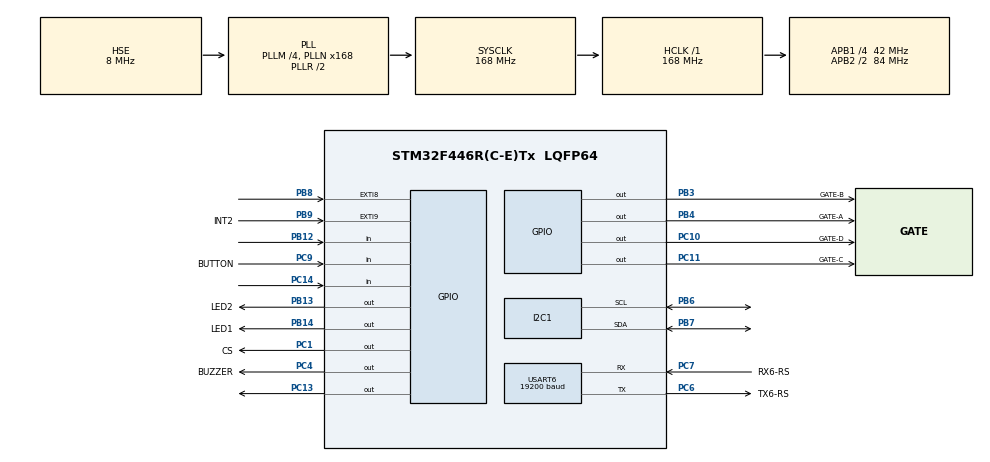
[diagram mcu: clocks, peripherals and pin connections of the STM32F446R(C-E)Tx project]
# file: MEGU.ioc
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I2C1.I2C_Mode=I2C_Fast
Mcu.Family=STM32F4
Mcu.Name=STM32F446R(C-E)Tx
Mcu.Package=LQFP64
NVIC.PriorityGroup=NVIC_PRIORITYGROUP_4
NVIC.TIM1_UP_TIM10_IRQn=true\:0\:0\:false\:false\:true\:true\:true\:true
NVIC.TIM6_DAC_IRQn=true\:0\:0\:false\:false\:true\:true\:true\:true
NVIC.USART6_IRQn=true\:0\:0\:false\:false\:true\:true\:true\:true
PA13.Mode=Serial_Wire
PA13.Signal=SYS_JTMS-SWDIO
PA14.Mode=Serial_Wire
PA14.Signal=SYS_JTCK-SWCLK
PA7.Signal=SPI1_MOSI
PB12.GPIO_PuPd=GPIO_PULLUP
PB12.Signal=GPIO_Input
PB13.GPIO_Label=LED2
PB13.Signal=GPIO_Output
PB14.GPIO_Label=LED1
PB14.Signal=GPIO_Output
PB3.GPIO_Label=GATE-B
PB3.Signal=GPIO_Output
PB4.GPIO_Label=GATE-A
PB4.Signal=GPIO_Output
PB6.Mode=I2C
PB6.Signal=I2C1_SCL
PB7.Mode=I2C
PB7.Signal=I2C1_SDA
PB8.GPIO_ModeDefaultEXTI=GPIO_MODE_IT_RISING
PB8.Signal=GPXTI8
PB9.GPIO_Label=INT2
PB9.GPIO_PuPd=GPIO_NOPULL
PB9.Signal=GPXTI9
PC1.GPIO_Label=CS
PC1.Signal=GPIO_Output
PC10.GPIO_Label=GATE-D
PC10.Signal=GPIO_Output
PC11.GPIO_Label=GATE-C
PC11.Signal=GPIO_Output
PC13.PinState=GPIO_PIN_SET
PC13.Signal=GPIO_Output
PC14-OSC32_IN.GPIO_PuPd=GPIO_PULLDOWN
PC14-OSC32_IN.Signal=GPIO_Input
PC4.GPIO_Label=BUZZER
PC4.Signal=GPIO_Output
PC6.GPIO_Label=TX6-RS
PC6.Mode=Asynchronous
PC6.Signal=USART6_TX
PC7.GPIO_Label=RX6-RS
PC7.Mode=Asynchronous
PC7.Signal=USART6_RX
PC9.GPIO_Label=BUTTON
PC9.GPIO_PuPd=GPIO_PULLUP
PC9.Signal=GPIO_Input
PH0-OSC_IN.Mode=HSE-External-Oscillator
PH0-OSC_IN.Signal=RCC_OSC_IN
PH1-OSC_OUT.Mode=HSE-External-Oscillator
PH1-OSC_OUT.Signal=RCC_OSC_OUT
ProjectManager.HeapSize=0x200
ProjectManager.StackSize=0x400
ProjectManager.TargetToolchain=STM32CubeIDE
RCC.AHBFreq_Value=168000000
RCC.APB1CLKDivider=RCC_HCLK_DIV4
RCC.APB1Freq_Value=42000000
RCC.APB1TimFreq_Value=84000000
RCC.APB2CLKDivider=RCC_HCLK_DIV2
RCC.APB2Freq_Value=84000000
RCC.APB2TimFreq_Value=168000000
RCC.CortexFreq_Value=168000000
RCC.HCLKFreq_Value=168000000
RCC.HSE_VALUE=8000000
RCC.PLLM=4
RCC.PLLN=168
RCC.PLLQ=7
RCC.PLLSourceVirtual=RCC_PLLSOURCE_HSE
RCC.SYSCLKFreq_VALUE=168000000
RCC.SYSCLKSource=RCC_SYSCLKSOURCE_PLLRCLK
RCC.USBFreq_Value=48000000
RCC.VCOOutputFreq_Value=336000000
TIM10.Period=4999
TIM10.Prescaler=1680
TIM6.Period=19999
TIM6.Prescaler=840
USART6.BaudRate=19200
USART6.VirtualMode=VM_ASYNC
VP_FATFS_VS_Generic.Mode=User_defined
VP_TIM10_VS_ClockSourceINT.Mode=Enable_Timer
VP_TIM6_VS_ClockSourceINT.Mode=Enable_Timer
board=custom

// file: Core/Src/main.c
/* USER CODE BEGIN Header */
/**
  ******************************************************************************
  * @file           : main.c
  * @brief          : Main program body
  ******************************************************************************
  * @attention
  *
  * Copyright (c) 2024 STMicroelectronics.
  * All rights reserved.
  *
  * This software is licensed under terms that can be found in the LICENSE file
  * in the root directory of this software component.
  * If no LICENSE file comes with this software, it is provided AS-IS.
  *
  ******************************************************************************
  */
/* USER CODE END Header */
#include "main.h"
#include "fatfs.h"

/* USER CODE BEGIN Includes */

#include "LSM6DSLTR.h"
#include "./BME280/bme280.h"
#include <math.h>
#include "FIR_FILTER.h"
#include "stdio.h"
#include "kalman.h"
#include "string.h"
/* USER CODE END Includes */

/* USER CODE BEGIN PD */

#define EGU_RX_BUFFER_SIZE 5
#define EGU_TX_BUFFER_SIZE 34

#define HP_alpha 	0.92f // 0.8 en iyi
#define LP_alpha 	0.55f // 0.4 en iyi
#define beta		0.85
/* USER CODE END PD */

I2C_HandleTypeDef hi2c1;

TIM_HandleTypeDef htim6;
TIM_HandleTypeDef htim10;

UART_HandleTypeDef huart6;

/* USER CODE BEGIN PV */

typedef union{
  float fVal;
  unsigned char array[4];
}float2unit8;

KalmanFilter kf , na , pa , ax,ay,az,gx,gy,gz;

uint8_t EGU_RX_BUFFER[EGU_RX_BUFFER_SIZE];
uint8_t EGU_TX_BUFFER[EGU_TX_BUFFER_SIZE];
uint8_t rx_data_EGU=0;
uint8_t rx_index_EGU=0;
static uint8_t EGU_durum_sorgusu[5]={0x54,0x52,0x35,0x0D,0x0A};
static uint8_t EGU_motor_atesleme[5]={0x54,0x52,0x32,0x0D,0x0A};

uint8_t manyetik_switch=1;

int buzzer_long=0 , buzzer_short=0, buzzer_ariza=0 ;
int buzzer_short_counter , buzzer_long_counter , buzzer_ariza_counter;

uint8_t MEGU_battery=0;
uint8_t MEGU_mod=0;

uint8_t BUTTON_STATE=0;

float zaman=0;

uint8_t fitil_kontrol=0;
uint8_t motor_ates=0;
uint8_t sensor_flag=0;
uint8_t rampa_control=0;
uint8_t ariza_BME=0;
uint8_t ariza_LSM=0;
uint8_t ariza=0;
uint32_t set_timer=0;
uint32_t set1=0;

const uint8_t egu_byte_0=0x54;
const uint8_t egu_byte_1=0x52;
const uint8_t egu_byte_28=0x00;
const uint8_t egu_byte_31=0x00;
const uint8_t egu_byte_32=0x0D;
const uint8_t egu_byte_33=0x0A;

float temperature=0;
float humidity=0;
float altitude=0;
float max_altitude=0;
float offset_altitude=0;
float pressure=0;
float alt=0;
float P0 = 1013.25;
float prev_alt=0;
float speed=0;
int new_data=0;
float prev_time1;
uint8_t altitude_rampa_control=0;
float speed_max , x_max , altitude_max =0;

float real_pitch, real_roll , toplam_pitch,toplam_roll , toplam_accX , toplam_accY , toplam_accZ, toplam_gX,toplam_gY,toplam_gZ ,
	  toplam_normal,real_normal;

float offset_x,offset_y,offset_z, gyroX_prev, gyroY_prev,gyroZ_prev,
	  accX_prev, accY_prev,accZ_prev;
float filtered_gyroX ,filtered_gyroY,filtered_gyroZ, filtered_accX,
	  filtered_accY,filtered_accZ;
float filtered_gyro[3] , filtered_gyro_HP[3];
float filtered_acc_LP[3] , filtered_acc[3];
float gravity_normal_angle;

float gyroX_HP_prev = 0.0f, gyroY_HP_prev = 0.0f, gyroZ_HP_prev = 0.0f;
float filtered_gyro_HP_X = 0.0f, filtered_gyro_HP_Y = 0.0f, filtered_gyro_HP_Z = 0.0f;

float gyroX_LP_prev = 0.0f, gyroY_LP_prev = 0.0f, gyroZ_LP_prev = 0.0f , filtered_gyro_LP[3];

int kontrol_counter=0,speed_time, speed_time_prev;
uint8_t sensor_counter = 0;
KalmanFilter kf;
LSM6DSLTR Lsm_Sensor;
float altitude_kalman=0;

enum ZORLU2024
{
	RAMPA,UCUS_BASLADI,KADEME_AYRILDIMI,AYRILDI
};
enum ZORLU2024 MEGU;
/* USER CODE END PV */

void SystemClock_Config(void);
static void MX_GPIO_Init(void);
static void MX_I2C1_Init(void);
static void MX_USART6_UART_Init(void);
static void MX_TIM10_Init(void);
static void MX_TIM6_Init(void);
/* USER CODE BEGIN PFP */
int16_t BME_I2C_Testsensor(void);
int16_t LSM_I2C_Testsensor(void);
int8_t user_i2c_read(uint8_t id, uint8_t reg_addr, uint8_t *data, uint16_t len);
int8_t user_i2c_write(uint8_t id, uint8_t reg_addr, uint8_t *data, uint16_t len);
void user_delay_ms(uint32_t period);
float BME280_Get_Altitude(void);
void bme_config(void);
void union_converter(void);
void EGU_Buff_Load(void);
void Buzzer(int how_many , uint32_t how_long);
void Altitude_Offset();
int compare_arrays(uint8_t *array1, uint8_t *array2, uint16_t size);
void MEGU_TX_BUF_FILL(void);
/* USER CODE END PFP */

/* USER CODE BEGIN 0 */

struct bme280_dev dev;
struct bme280_data comp_data;
int8_t rslt=0;

void HAL_UART_RxCpltCallback(UART_HandleTypeDef *huart)
{

	if(huart == &huart6){
		if(rx_data_EGU != '\n' && rx_index_EGU <5){
			EGU_RX_BUFFER[rx_index_EGU++]=rx_data_EGU;

		}
		else
		{
			rx_data_EGU=0;
			rx_index_EGU=0;

		}
	HAL_UART_Receive_IT(&huart6, &rx_data_EGU, 1);
		}
}

void HAL_TIM_PeriodElapsedCallback(TIM_HandleTypeDef *htim)
{

	if(htim==&htim10){ //50ms
	sensor_flag=1;
	set_timer++;

	if(buzzer_long ==1 && buzzer_long_counter>=20)
	{
		HAL_GPIO_TogglePin(GPIOC, GPIO_PIN_4);
		buzzer_long_counter = 0;
	}
	buzzer_long_counter++;

	if(buzzer_short ==1 && buzzer_short_counter>=9)
	{
		HAL_GPIO_TogglePin(GPIOC, GPIO_PIN_4);
		buzzer_short_counter = 0;
	}
	buzzer_short_counter++;

	if(buzzer_ariza ==1 && buzzer_ariza_counter>=3)
	{
		HAL_GPIO_TogglePin(GPIOC, GPIO_PIN_4);
		buzzer_ariza_counter = 0;
	}
	buzzer_ariza_counter++;

	}

}
/**********************************************/

/* USER CODE END 0 */

int main(void)
{

  /* MCU Configuration--------------------------------------------------------*/

  /* Reset of all peripherals, Initializes the Flash interface and the Systick. */
  HAL_Init();

  /* Configure the system clock */
  SystemClock_Config();

  /* Initialize all configured peripherals */
  MX_GPIO_Init();
  MX_I2C1_Init();
  MX_USART6_UART_Init();
  MX_FATFS_Init();
  MX_TIM10_Init();
  MX_TIM6_Init();
  /* USER CODE BEGIN 2 */
  HAL_GPIO_WritePin(GPIOC, GPIO_PIN_1, GPIO_PIN_SET);
  HAL_GPIO_WritePin(GPIOB, GPIO_PIN_2, GPIO_PIN_SET);
  HAL_GPIO_WritePin(GPIOC, GPIO_PIN_14, GPIO_PIN_SET);

  ///KURTARMA PORTLARI KAPALI EMIN OL
  HAL_GPIO_WritePin(GPIOB, GPIO_PIN_4, GPIO_PIN_RESET);//A
  HAL_GPIO_WritePin(GPIOB, GPIO_PIN_3, GPIO_PIN_RESET);//B
  HAL_GPIO_WritePin(GPIOC, GPIO_PIN_11, GPIO_PIN_RESET);//C
  HAL_GPIO_WritePin(GPIOC, GPIO_PIN_10, GPIO_PIN_RESET);//D

  HAL_UART_Receive_IT(&huart6, &rx_data_EGU, 1);

  HAL_TIM_Base_Start_IT(&htim10);
  HAL_TIM_Base_Start_IT(&htim6);

  KalmanFilter_Init(&kf, 0.005, 0.1, 0.0);

  KalmanFilter_Init(&ax, 0.2, 2, toplam_accX);
  KalmanFilter_Init(&ay, 0.2, 2, toplam_accY);
  KalmanFilter_Init(&az, 0.2, 2, toplam_accZ);
  KalmanFilter_Init(&gx, 0.2, 2, toplam_gX);
  KalmanFilter_Init(&gy, 0.2, 2, toplam_gY);
  KalmanFilter_Init(&gz, 0.2, 2, toplam_gZ);

  LSM6DSLTR_Init();
  bme_config();
  Altitude_Offset();

  for(int i = 0; i<5;i++)
  {

	      LSM6DSLTR_Read_Gyro_Data(&Lsm_Sensor);

	      offset_x += Lsm_Sensor.Gyro_X;
		  offset_y += Lsm_Sensor.Gyro_Y;
		  offset_z += Lsm_Sensor.Gyro_Z;
		  HAL_Delay(10);
  }
  offset_x=offset_x/5;
  offset_y=offset_y/5;
  offset_z=offset_z/5;

  Buzzer(10, 100);

  ariza_BME=BME_I2C_Testsensor();
  ariza_LSM=LSM_I2C_Testsensor();

  ariza=ariza_BME+ariza_LSM;
	set1=set_timer;

  /* USER CODE END 2 */

  /* Infinite loop */
  /* USER CODE BEGIN WHILE */
  while (1)
  {

	  MEGU_TX_BUF_FILL();

/********************* Sensor Ölçüm **************************************************/
	if(sensor_flag==1)
	{
		 sensor_flag=0;
		 prev_alt=altitude_kalman;
		 rslt = bme280_set_sensor_mode(BME280_FORCED_MODE, &dev);
		/* �?��?�터 취�? */
		rslt = bme280_get_sensor_data(BME280_ALL, &comp_data, &dev);

	      LSM6DSLTR_Read_Accel_Data(&Lsm_Sensor);
	      LSM6DSLTR_Read_Gyro_Data(&Lsm_Sensor);

	      toplam_accX += KalmanFilter_Update(&ax,Lsm_Sensor.Accel_X);
	      toplam_accY += KalmanFilter_Update(&ay,Lsm_Sensor.Accel_Y );
	      toplam_accZ += KalmanFilter_Update(&az,Lsm_Sensor.Accel_Z );
	      toplam_gX +=  KalmanFilter_Update(&gx,Lsm_Sensor.Gyro_X-offset_x  );
	      toplam_gX +=  KalmanFilter_Update(&gy,Lsm_Sensor.Gyro_Y -offset_y );
	      toplam_gZ +=  KalmanFilter_Update(&gz,Lsm_Sensor.Gyro_Z -offset_z );

		   sensor_counter++;
	     if(sensor_counter == 10)
		      {

			      if(rslt == BME280_OK )
			      {
			          temperature = comp_data.temperature / 100.00;
			          humidity = comp_data.humidity;
			          pressure = comp_data.pressure;
			          altitude = BME280_Get_Altitude() - offset_altitude;
			          altitude_kalman = KalmanFilter_Update(&kf, altitude);
			          speed_time = (HAL_GetTick()-speed_time_prev)/1000.0f;
					  speed = (altitude - prev_alt) * speed_time;
					  speed_time_prev = speed_time;
			      }

					  // High pass filter for gyroscope data
	//			  filtered_gyro_HP_X = HP_alpha * (gyroX_HP_prev + toplam_gX/10.0f - gyroX_HP_prev);
	//			  filtered_gyro_HP_Y = HP_alpha * (gyroY_HP_prev + toplam_gY/10.0f - gyroY_HP_prev);
	//			  filtered_gyro_HP_Z = HP_alpha * (gyroZ_HP_prev + toplam_gZ/10.0f - gyroZ_HP_prev);

				  filtered_gyro_LP[0] = LP_alpha * toplam_gX/10.0f + (1.0 - LP_alpha) * gyroX_LP_prev;
				  filtered_gyro_LP[1] = LP_alpha * toplam_gY/10.0f + (1.0 - LP_alpha) * gyroY_LP_prev ;
				  filtered_gyro_LP[2] = LP_alpha * toplam_gZ/10.0f + (1.0 - LP_alpha) * gyroZ_LP_prev;

				/*************************** ********************************/
				  filtered_gyro_HP_X = beta * (gyroX_HP_prev +  filtered_gyro_LP[0] - gyroX_LP_prev);
				  filtered_gyro_HP_Y = beta * (gyroY_HP_prev + filtered_gyro_LP[1] - gyroY_LP_prev);
				  filtered_gyro_HP_Z = beta * (gyroZ_HP_prev +  filtered_gyro_LP[2] - gyroZ_LP_prev);

				  gyroX_LP_prev =  filtered_gyro_LP[0];
				  gyroY_LP_prev =  filtered_gyro_LP[1];
				  gyroZ_LP_prev =  filtered_gyro_LP[2];

				  // Low pass filter for accelerometer data
				  filtered_acc_LP[0] = LP_alpha * filtered_acc_LP[0] + (1 - LP_alpha) *  toplam_accX / 10.0;
				  filtered_acc_LP[1] = LP_alpha * filtered_acc_LP[1] + (1 - LP_alpha) *  toplam_accY / 10.0;
				  filtered_acc_LP[2] = LP_alpha * filtered_acc_LP[2] + (1 - LP_alpha) *  toplam_accZ / 10.0;

				  gyroX_HP_prev = filtered_gyro_HP_X;
				  gyroY_HP_prev = filtered_gyro_HP_Y;
				  gyroZ_HP_prev = filtered_gyro_HP_Z;

				  real_roll = atan2f(filtered_acc_LP[1], sqrtf(filtered_acc_LP[0] * filtered_acc_LP[0] + filtered_acc_LP[2] * filtered_acc_LP[2] +  1e-10)) * 180.0f / 3.14;
				  real_pitch = atan2f(-filtered_acc_LP[0], sqrtf(filtered_acc_LP[1] * filtered_acc_LP[1] + filtered_acc_LP[2] * filtered_acc_LP[2]+ 1e-10)) * 180.0f / 3.14;

				  uint32_t current_time = HAL_GetTick(); // current time
				  float dt = (current_time - prev_time1) / 1000.0f;

				  real_roll = ALPHA * (real_roll + filtered_gyro_HP_X * dt) + (1 - ALPHA) * real_roll;
				  real_pitch = ALPHA * (real_pitch + filtered_gyro_HP_Y * dt) + (1 - ALPHA) * real_pitch;

				  prev_time1 = current_time;
				  gravity_normal_angle = sqrtf(real_roll * real_roll + real_pitch * real_pitch);

				  toplam_roll = 0;
				  toplam_pitch = 0;
				  toplam_accX = 0;
				  toplam_accY = 0;
				  toplam_accZ = 0;
				  toplam_gX = 0;
				  toplam_gY = 0;
				  toplam_gZ = 0;
				  sensor_counter = 0;
				  new_data=1;
		      }

		 fitil_kontrol= HAL_GPIO_ReadPin(GPIOB, GPIO_PIN_12);

		 manyetik_switch= HAL_GPIO_ReadPin(GPIOC, GPIO_PIN_13);
		 BUTTON_STATE=HAL_GPIO_ReadPin(GPIOC, GPIO_PIN_9);

	  }

/************ MEGÜ durum sorgusu **************************************************/

	if( (compare_arrays(EGU_RX_BUFFER, EGU_durum_sorgusu, EGU_RX_BUFFER_SIZE)) )
	{
		HAL_UART_Transmit(&huart6, EGU_TX_BUFFER, EGU_TX_BUFFER_SIZE, 1000);

		for(uint8_t i=0;i<5;i++)
		{
		EGU_RX_BUFFER[i++]=0;
		}
	}
	else if ((compare_arrays(EGU_RX_BUFFER, EGU_motor_atesleme, EGU_RX_BUFFER_SIZE)))
	{

		motor_ates=1;
			for(uint8_t i=0;i<5;i++)
			{
			EGU_RX_BUFFER[i++]=0;
			}

	}

/***********************************END*************************************************/
    /* USER CODE END WHILE */

    /* USER CODE BEGIN 3 */

			switch(MEGU){
		case RAMPA:
						MEGU_mod=1;
					  //RAMPA MODU ROKET RAMPADA EGÜ SWİTCHLERİ VE ALT KADEME HABERLE�?ME KONTROL ET

						if(-Lsm_Sensor.Accel_X > 10 && altitude_rampa_control ==1 && new_data==1)
						  {
							kontrol_counter++;
							new_data=0;
						  }

						if(kontrol_counter >=10)
						{
							rampa_control=1;
							MEGU=UCUS_BASLADI;
							kontrol_counter =0;
						}

			  break;

		case UCUS_BASLADI:
						MEGU_mod=2;
						if(altitude_kalman>350 && new_data==1)
						{
							kontrol_counter++;
							new_data=0;
						}

						if(kontrol_counter >=10)
						{
							MEGU=KADEME_AYRILDIMI;
							kontrol_counter =0;
						}
			 break;

		case KADEME_AYRILDIMI:
						MEGU_mod=3;

						if(manyetik_switch==1)
						{
							kontrol_counter++;
							new_data=0;
						}

						if(kontrol_counter >=30)
						{

							MEGU=AYRILDI;
							kontrol_counter =0;
						}

			 break;

		case AYRILDI:
						MEGU_mod=4;
						if( motor_ates==1 ) // pozisyon kontrolü
						{

							if(set1-set_timer==10)
							{
							HAL_GPIO_TogglePin(GPIOC, GPIO_PIN_4);
							HAL_GPIO_TogglePin(GPIOB, GPIO_PIN_4);

							set1=set_timer;
							}
						}

			 break;

		}

/************************************************************************************/
		  if(altitude >250 && MEGU <3)
		  {
			  altitude_rampa_control =1;
		  }
/*************************************************************************************/
		  if(altitude>altitude_max) altitude_max = altitude_kalman;

		  if(speed>speed_max) speed_max = speed;

		  if( -Lsm_Sensor.Accel_X> x_max) x_max =  -Lsm_Sensor.Accel_X;

  }
  /* USER CODE END 3 */
}

void SystemClock_Config(void)
{
  RCC_OscInitTypeDef RCC_OscInitStruct = {0};
  RCC_ClkInitTypeDef RCC_ClkInitStruct = {0};

  /** Configure the main internal regulator output voltage
  */
  __HAL_RCC_PWR_CLK_ENABLE();
  __HAL_PWR_VOLTAGESCALING_CONFIG(PWR_REGULATOR_VOLTAGE_SCALE1);

  /** Initializes the RCC Oscillators according to the specified parameters
  * in the RCC_OscInitTypeDef structure.
  */
  RCC_OscInitStruct.OscillatorType = RCC_OSCILLATORTYPE_HSE;
  RCC_OscInitStruct.HSEState = RCC_HSE_ON;
  RCC_OscInitStruct.PLL.PLLState = RCC_PLL_ON;
  RCC_OscInitStruct.PLL.PLLSource = RCC_PLLSOURCE_HSE;
  RCC_OscInitStruct.PLL.PLLM = 4;
  RCC_OscInitStruct.PLL.PLLN = 168;
  RCC_OscInitStruct.PLL.PLLP = RCC_PLLP_DIV2;
  RCC_OscInitStruct.PLL.PLLQ = 7;
  RCC_OscInitStruct.PLL.PLLR = 2;
  if (HAL_RCC_OscConfig(&RCC_OscInitStruct) != HAL_OK)
  {
    Error_Handler();
  }

  /** Initializes the CPU, AHB and APB buses clocks
  */
  RCC_ClkInitStruct.ClockType = RCC_CLOCKTYPE_HCLK|RCC_CLOCKTYPE_SYSCLK
                              |RCC_CLOCKTYPE_PCLK1|RCC_CLOCKTYPE_PCLK2;
  RCC_ClkInitStruct.SYSCLKSource = RCC_SYSCLKSOURCE_PLLRCLK;
  RCC_ClkInitStruct.AHBCLKDivider = RCC_SYSCLK_DIV1;
  RCC_ClkInitStruct.APB1CLKDivider = RCC_HCLK_DIV4;
  RCC_ClkInitStruct.APB2CLKDivider = RCC_HCLK_DIV2;

  if (HAL_RCC_ClockConfig(&RCC_ClkInitStruct, FLASH_LATENCY_5) != HAL_OK)
  {
    Error_Handler();
  }
}

static void MX_I2C1_Init(void)
{

  hi2c1.Instance = I2C1;
  hi2c1.Init.ClockSpeed = 400000;
  hi2c1.Init.DutyCycle = I2C_DUTYCYCLE_2;
  hi2c1.Init.OwnAddress1 = 0;
  hi2c1.Init.AddressingMode = I2C_ADDRESSINGMODE_7BIT;
  hi2c1.Init.DualAddressMode = I2C_DUALADDRESS_DISABLE;
  hi2c1.Init.OwnAddress2 = 0;
  hi2c1.Init.GeneralCallMode = I2C_GENERALCALL_DISABLE;
  hi2c1.Init.NoStretchMode = I2C_NOSTRETCH_DISABLE;
  if (HAL_I2C_Init(&hi2c1) != HAL_OK)
  {
    Error_Handler();
  }

}

static void MX_TIM6_Init(void)
{

  TIM_MasterConfigTypeDef sMasterConfig = {0};

  htim6.Instance = TIM6;
  htim6.Init.Prescaler = 840;
  htim6.Init.CounterMode = TIM_COUNTERMODE_UP;
  htim6.Init.Period = 19999;
  htim6.Init.AutoReloadPreload = TIM_AUTORELOAD_PRELOAD_DISABLE;
  if (HAL_TIM_Base_Init(&htim6) != HAL_OK)
  {
    Error_Handler();
  }
  sMasterConfig.MasterOutputTrigger = TIM_TRGO_RESET;
  sMasterConfig.MasterSlaveMode = TIM_MASTERSLAVEMODE_DISABLE;
  if (HAL_TIMEx_MasterConfigSynchronization(&htim6, &sMasterConfig) != HAL_OK)
  {
    Error_Handler();
  }

}

static void MX_TIM10_Init(void)
{

  htim10.Instance = TIM10;
  htim10.Init.Prescaler = 1680;
  htim10.Init.CounterMode = TIM_COUNTERMODE_UP;
  htim10.Init.Period = 4999;
  htim10.Init.ClockDivision = TIM_CLOCKDIVISION_DIV1;
  htim10.Init.AutoReloadPreload = TIM_AUTORELOAD_PRELOAD_DISABLE;
  if (HAL_TIM_Base_Init(&htim10) != HAL_OK)
  {
    Error_Handler();
  }

}

static void MX_USART6_UART_Init(void)
{

  huart6.Instance = USART6;
  huart6.Init.BaudRate = 19200;
  huart6.Init.WordLength = UART_WORDLENGTH_8B;
  huart6.Init.StopBits = UART_STOPBITS_1;
  huart6.Init.Parity = UART_PARITY_NONE;
  huart6.Init.Mode = UART_MODE_TX_RX;
  huart6.Init.HwFlowCtl = UART_HWCONTROL_NONE;
  huart6.Init.OverSampling = UART_OVERSAMPLING_16;
  if (HAL_UART_Init(&huart6) != HAL_OK)
  {
    Error_Handler();
  }

}

static void MX_GPIO_Init(void)
{
  GPIO_InitTypeDef GPIO_InitStruct = {0};

  /* GPIO Ports Clock Enable */
  __HAL_RCC_GPIOC_CLK_ENABLE();
  __HAL_RCC_GPIOH_CLK_ENABLE();
  __HAL_RCC_GPIOA_CLK_ENABLE();
  __HAL_RCC_GPIOB_CLK_ENABLE();

  /*Configure GPIO pin Output Level */
  HAL_GPIO_WritePin(GPIOC, GPIO_PIN_13, GPIO_PIN_SET);

  /*Configure GPIO pin Output Level */
  HAL_GPIO_WritePin(GPIOC, CS_Pin|BUZZER_Pin|GATE_D_Pin|GATE_C_Pin, GPIO_PIN_RESET);

  /*Configure GPIO pin Output Level */
  HAL_GPIO_WritePin(GPIOB, LED2_Pin|LED1_Pin|GATE_B_Pin|GATE_A_Pin, GPIO_PIN_RESET);

  /*Configure GPIO pins : PC13 CS_Pin BUZZER_Pin GATE_D_Pin
                           GATE_C_Pin */
  GPIO_InitStruct.Pin = GPIO_PIN_13|CS_Pin|BUZZER_Pin|GATE_D_Pin
                          |GATE_C_Pin;
  GPIO_InitStruct.Mode = GPIO_MODE_OUTPUT_PP;
  GPIO_InitStruct.Pull = GPIO_NOPULL;
  GPIO_InitStruct.Speed = GPIO_SPEED_FREQ_LOW;
  HAL_GPIO_Init(GPIOC, &GPIO_InitStruct);

  /*Configure GPIO pin : PC14 */
  GPIO_InitStruct.Pin = GPIO_PIN_14;
  GPIO_InitStruct.Mode = GPIO_MODE_INPUT;
  GPIO_InitStruct.Pull = GPIO_PULLDOWN;
  HAL_GPIO_Init(GPIOC, &GPIO_InitStruct);

  /*Configure GPIO pin : PA7 */
  GPIO_InitStruct.Pin = GPIO_PIN_7;
  GPIO_InitStruct.Mode = GPIO_MODE_AF_PP;
  GPIO_InitStruct.Pull = GPIO_NOPULL;
  GPIO_InitStruct.Speed = GPIO_SPEED_FREQ_VERY_HIGH;
  GPIO_InitStruct.Alternate = GPIO_AF5_SPI1;
  HAL_GPIO_Init(GPIOA, &GPIO_InitStruct);

  /*Configure GPIO pin : PB12 */
  GPIO_InitStruct.Pin = GPIO_PIN_12;
  GPIO_InitStruct.Mode = GPIO_MODE_INPUT;
  GPIO_InitStruct.Pull = GPIO_PULLUP;
  HAL_GPIO_Init(GPIOB, &GPIO_InitStruct);

  /*Configure GPIO pins : LED2_Pin LED1_Pin GATE_B_Pin GATE_A_Pin */
  GPIO_InitStruct.Pin = LED2_Pin|LED1_Pin|GATE_B_Pin|GATE_A_Pin;
  GPIO_InitStruct.Mode = GPIO_MODE_OUTPUT_PP;
  GPIO_InitStruct.Pull = GPIO_NOPULL;
  GPIO_InitStruct.Speed = GPIO_SPEED_FREQ_LOW;
  HAL_GPIO_Init(GPIOB, &GPIO_InitStruct);

  /*Configure GPIO pin : BUTTON_Pin */
  GPIO_InitStruct.Pin = BUTTON_Pin;
  GPIO_InitStruct.Mode = GPIO_MODE_INPUT;
  GPIO_InitStruct.Pull = GPIO_PULLUP;
  HAL_GPIO_Init(BUTTON_GPIO_Port, &GPIO_InitStruct);

  /*Configure GPIO pins : PB8 INT2_Pin */
  GPIO_InitStruct.Pin = GPIO_PIN_8|INT2_Pin;
  GPIO_InitStruct.Mode = GPIO_MODE_IT_RISING;
  GPIO_InitStruct.Pull = GPIO_NOPULL;
  HAL_GPIO_Init(GPIOB, &GPIO_InitStruct);

}

/* USER CODE BEGIN 4 */
int16_t BME_I2C_Testsensor(void){

	HAL_StatusTypeDef status;

	status=HAL_I2C_IsDeviceReady(&hi2c1,0x76 <<1, 4, 100);

	if(HAL_OK==status){

		return 0;
		}
	else {
		return 1;
		}

}
int16_t LSM_I2C_Testsensor(void){

	HAL_StatusTypeDef status;

	status=HAL_I2C_IsDeviceReady(&hi2c1,0x6A <<1, 4, 100);

	if(HAL_OK==status){

		return 0;
		}
	else {
		return 1;
		}

}

float BME280_Get_Altitude(void)
{
	float press = comp_data.pressure / 10000.0;
//	float temp = comp_data.temperature / 100.0;
	alt = 44330 * (1 - pow((press / 1013.25),(1/5.255)));
	//alt = ((pow((P0/press), (1/5.257))-1) * (temp + 273.15)) / 0.0065;

	return (alt);
}
int8_t user_i2c_read(uint8_t id, uint8_t reg_addr, uint8_t *data, uint16_t len)
{
  if(HAL_I2C_Master_Transmit(&hi2c1, (id << 1), &reg_addr, 1, 10) != HAL_OK) return -1;
  if(HAL_I2C_Master_Receive(&hi2c1, (id << 1) | 0x01, data, len, 10) != HAL_OK) return -1;

  return 0;
}

void user_delay_ms(uint32_t period)
{
  HAL_Delay(period);
}
int8_t user_i2c_write(uint8_t id, uint8_t reg_addr, uint8_t *data, uint16_t len)
{
  int8_t *buf;
  buf = malloc(len +1);
  buf[0] = reg_addr;
  memcpy(buf +1, data, len);

  if(HAL_I2C_Master_Transmit(&hi2c1, (id << 1), (uint8_t*)buf, len + 1, HAL_MAX_DELAY) != HAL_OK) return -1;

  free(buf);
  return 0;
}

void Buzzer(int how_many , uint32_t how_long)
{
	if((how_many %2) == 1) how_many++;

	  for(uint8_t i=0;i<how_many; i++)
	  {
	  	    HAL_GPIO_TogglePin(GPIOC,GPIO_PIN_4);
	  	    HAL_GPIO_TogglePin(GPIOB,GPIO_PIN_14);
	  	    HAL_GPIO_TogglePin(GPIOB,GPIO_PIN_13);
	  		HAL_Delay(how_long);

	  }

	  fitil_kontrol=  HAL_GPIO_ReadPin(GPIOB, GPIO_PIN_12);
	  if(!fitil_kontrol)
	  		{
	  			HAL_Delay(1000);
	  			HAL_GPIO_WritePin(GPIOC, GPIO_PIN_4, GPIO_PIN_SET);
	  			HAL_Delay(3000);
	  			HAL_GPIO_WritePin(GPIOC, GPIO_PIN_4, GPIO_PIN_RESET);
	  		}
}

void Altitude_Offset()
{
	for(uint8_t i=0;i<5;i++)
	{
		HAL_Delay(40);
	  rslt = bme280_set_sensor_mode(BME280_FORCED_MODE, &dev);
	  rslt = bme280_get_sensor_data(BME280_ALL, &comp_data, &dev);
	  if(rslt == BME280_OK)
	  { pressure = comp_data.pressure;
	    offset_altitude=BME280_Get_Altitude();
	  }
	}
}

int compare_arrays(uint8_t *array1, uint8_t *array2, uint16_t size) {
    for (uint16_t i = 0; i < size-1; i++) {
        if (array1[i] != array2[i]) {
            return 0; // Diziler farklı
        }
    }
    return 1; // Diziler aynı
}

void MEGU_TX_BUF_FILL(void)
{
	  EGU_TX_BUFFER[0]=egu_byte_0;
	  EGU_TX_BUFFER[1]=egu_byte_1;

	  float2unit8 f2u8_zaman;
	  f2u8_zaman.fVal=zaman;
     	 for(uint8_t i=0;i<4;i++)
	 	 {
     		EGU_TX_BUFFER[i+2]=f2u8_zaman.array[i];
	 	 }
   	  float2unit8 f2u8_battery;
   	  f2u8_battery.fVal=MEGU_battery;
        	 for(uint8_t i=0;i<4;i++)
   	 	 {
        		EGU_TX_BUFFER[i+6]=f2u8_battery.array[i];
   	 	 }
	 float2unit8 f2u8_alt;
	 f2u8_alt.fVal=altitude_kalman;
			 for(uint8_t i=0;i<4;i++)
		 {
				EGU_TX_BUFFER[i+10]=f2u8_alt.array[i];
		 }
	 float2unit8 f2u8_max_alt;
	 f2u8_max_alt.fVal=max_altitude;
	 	 	 for(uint8_t i=0;i<4;i++)
		 {
				EGU_TX_BUFFER[i+14]=f2u8_max_alt.array[i];
		 }
	 float2unit8 f2u8_x;
	 f2u8_x.fVal=Lsm_Sensor.Accel_X;
	 	 	 for(uint8_t i=0;i<4;i++)
		 {
				EGU_TX_BUFFER[i+18]=f2u8_x.array[i];
		 }
	  float2unit8 f2u8_pitch;
	  f2u8_pitch.fVal=real_pitch;
	  	 	 for(uint8_t i=0;i<4;i++)
		 {
	 			EGU_TX_BUFFER[i+22]=f2u8_pitch.array[i];
		 }

	  EGU_TX_BUFFER[26]=rampa_control;//uçuş başladı mı
	  EGU_TX_BUFFER[27]=motor_ates;//motor ateşleme sinyali geldi mi
	  EGU_TX_BUFFER[28]=manyetik_switch;
	  EGU_TX_BUFFER[29]=ariza;//ariza tespit
	  EGU_TX_BUFFER[30]=fitil_kontrol;
	  EGU_TX_BUFFER[31]=egu_byte_31;
	  EGU_TX_BUFFER[32]=egu_byte_32;
	  EGU_TX_BUFFER[33]=egu_byte_33;

}
void bme_config(void)
{
	  dev.dev_id = BME280_I2C_ADDR_PRIM;
	  dev.intf = BME280_I2C_INTF;
	  dev.read = user_i2c_read;
	  dev.write = user_i2c_write;
	  dev.delay_ms = user_delay_ms;

	  rslt = bme280_init(&dev);

	  dev.settings.osr_h = BME280_OVERSAMPLING_1X;
	  dev.settings.osr_p = BME280_OVERSAMPLING_4X;
	  dev.settings.osr_t = BME280_OVERSAMPLING_2X;
	  dev.settings.filter = BME280_FILTER_COEFF_16;
	  rslt = bme280_set_sensor_settings(BME280_OSR_PRESS_SEL | BME280_OSR_TEMP_SEL | BME280_OSR_HUM_SEL | BME280_FILTER_SEL, &dev);

}

/* USER CODE END 4 */

void Error_Handler(void)
{
  __disable_irq();
  while (1)
  {
  }
}
